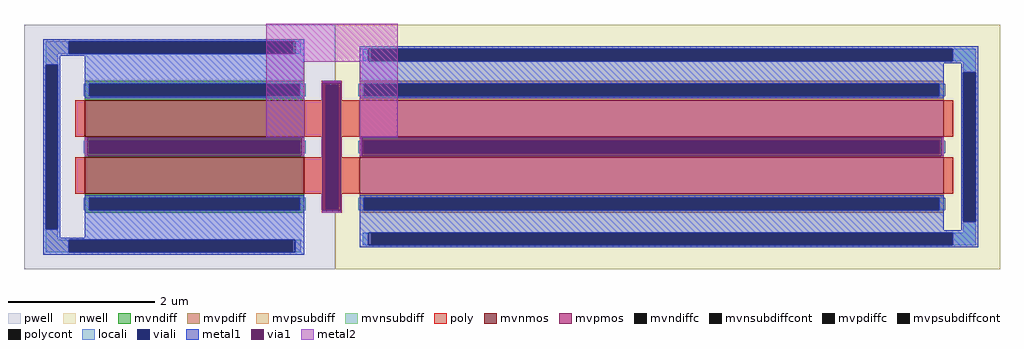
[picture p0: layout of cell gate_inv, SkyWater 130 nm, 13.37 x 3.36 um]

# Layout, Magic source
magic
tech sky130A
magscale 1 2
<< nwell >>
rect 900 0 2720 670
<< pwell >>
rect 47 0 900 670
<< mvnmos >>
rect 214 363 814 463
rect 214 207 814 307
<< mvpmos >>
rect 966 363 2566 463
rect 966 207 2566 307
<< mvndiff >>
rect 214 508 814 516
rect 214 474 226 508
rect 802 474 814 508
rect 214 463 814 474
rect 214 352 814 363
rect 214 318 226 352
rect 802 318 814 352
rect 214 307 814 318
rect 214 196 814 207
rect 214 162 226 196
rect 802 162 814 196
rect 214 154 814 162
<< mvpdiff >>
rect 966 508 2566 516
rect 966 474 978 508
rect 2554 474 2566 508
rect 966 463 2566 474
rect 966 352 2566 363
rect 966 318 978 352
rect 2554 318 2566 352
rect 966 307 2566 318
rect 966 196 2566 207
rect 966 162 978 196
rect 2554 162 2566 196
rect 966 154 2566 162
<< mvndiffc >>
rect 226 474 802 508
rect 226 318 802 352
rect 226 162 802 196
<< mvpdiffc >>
rect 978 474 2554 508
rect 978 318 2554 352
rect 978 162 2554 196
<< mvpsubdiff >>
rect 106 590 170 624
rect 781 590 805 624
rect 106 560 140 590
rect 106 80 140 110
rect 106 46 170 80
rect 781 46 805 80
<< mvnsubdiff >>
rect 975 570 999 604
rect 2590 570 2654 604
rect 2620 540 2654 570
rect 2620 100 2654 130
rect 975 66 999 100
rect 2590 66 2654 100
<< mvpsubdiffcont >>
rect 170 590 781 624
rect 106 110 140 560
rect 170 46 781 80
<< mvnsubdiffcont >>
rect 999 570 2590 604
rect 2620 130 2654 540
rect 999 66 2590 100
<< poly >>
rect 863 500 917 516
rect 863 463 873 500
rect 188 363 214 463
rect 814 363 873 463
rect 863 307 873 363
rect 188 207 214 307
rect 814 207 873 307
rect 863 170 873 207
rect 907 463 917 500
rect 907 363 966 463
rect 2566 363 2592 463
rect 907 307 917 363
rect 907 207 966 307
rect 2566 207 2592 307
rect 907 170 917 207
rect 863 154 917 170
<< polycont >>
rect 873 170 907 500
<< locali >>
rect 106 590 170 624
rect 790 590 805 624
rect 106 560 140 590
rect 975 570 990 604
rect 2590 570 2654 604
rect 2620 540 2654 570
rect 210 474 226 508
rect 802 474 818 508
rect 873 504 907 516
rect 210 318 226 352
rect 802 318 818 352
rect 210 162 226 196
rect 802 162 818 196
rect 962 474 978 508
rect 2554 474 2570 508
rect 962 318 978 352
rect 2554 318 2570 352
rect 873 154 907 166
rect 962 162 978 196
rect 2554 162 2570 196
rect 106 80 140 110
rect 2620 100 2654 130
rect 106 46 170 80
rect 790 46 805 80
rect 975 66 990 100
rect 2590 66 2654 100
<< viali >>
rect 170 590 781 624
rect 781 590 790 624
rect 990 570 999 604
rect 999 570 2590 604
rect 106 110 140 560
rect 226 474 802 508
rect 873 500 907 504
rect 226 318 802 352
rect 226 162 802 196
rect 873 170 907 500
rect 978 474 2554 508
rect 978 318 2554 352
rect 873 166 907 170
rect 978 162 2554 196
rect 2620 130 2654 540
rect 170 46 781 80
rect 781 46 790 80
rect 990 66 999 100
rect 999 66 2590 100
<< metal1 >>
rect 100 624 814 630
rect 100 590 170 624
rect 790 590 814 624
rect 100 584 814 590
rect 100 560 146 584
rect 100 110 106 560
rect 140 110 146 560
rect 214 508 814 584
rect 966 604 2660 610
rect 966 570 990 604
rect 2590 570 2660 604
rect 966 564 2660 570
rect 214 474 226 508
rect 802 474 814 508
rect 214 468 814 474
rect 864 510 916 516
rect 214 309 220 361
rect 808 309 814 361
rect 100 86 146 110
rect 214 196 814 202
rect 214 162 226 196
rect 802 162 814 196
rect 214 86 814 162
rect 966 508 2566 564
rect 966 474 978 508
rect 2554 474 2566 508
rect 966 468 2566 474
rect 2614 540 2660 564
rect 966 309 972 361
rect 2560 309 2566 361
rect 864 154 916 160
rect 966 196 2566 202
rect 966 162 978 196
rect 2554 162 2566 196
rect 100 80 814 86
rect 100 46 170 80
rect 790 46 814 80
rect 966 106 2566 162
rect 2614 130 2620 540
rect 2654 130 2660 540
rect 2614 106 2660 130
rect 966 100 2660 106
rect 966 66 990 100
rect 2590 66 2660 100
rect 966 60 2660 66
rect 100 40 814 46
<< via1 >>
rect 864 504 916 510
rect 220 352 808 361
rect 220 318 226 352
rect 226 318 802 352
rect 802 318 808 352
rect 220 309 808 318
rect 864 166 873 504
rect 873 166 907 504
rect 907 166 916 504
rect 972 352 2560 361
rect 972 318 978 352
rect 978 318 2554 352
rect 2554 318 2560 352
rect 972 309 2560 318
rect 864 160 916 166
<< metal2 >>
rect 710 568 1070 672
rect 710 361 814 568
rect 214 309 220 361
rect 808 309 814 361
rect 864 510 916 516
rect 966 361 1070 568
rect 966 309 972 361
rect 2560 309 2566 361
rect 864 154 916 160
<< properties >>
string FIXED_BBOX 0 0 2760 670
<< end >>
